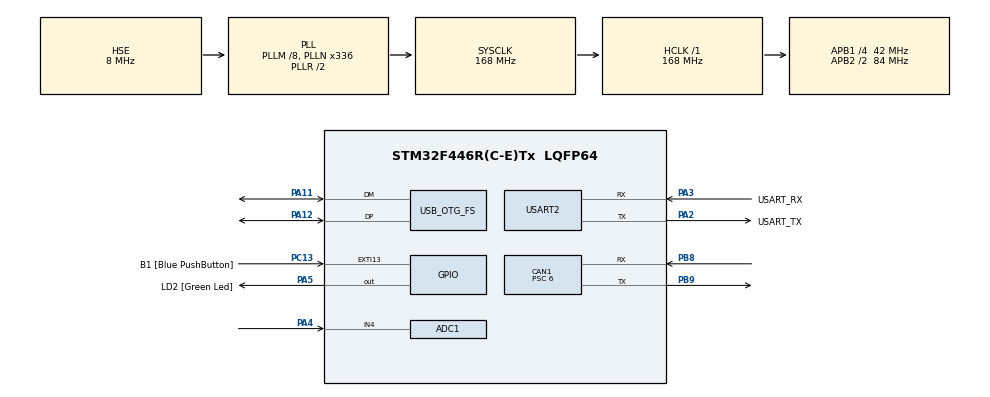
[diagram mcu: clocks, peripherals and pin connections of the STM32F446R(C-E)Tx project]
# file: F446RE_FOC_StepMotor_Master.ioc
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ADC1.Channel-0\#ChannelRegularConversion=ADC_CHANNEL_VREFINT
ADC1.Channel-2\#ChannelRegularConversion=ADC_CHANNEL_TEMPSENSOR
ADC1.Channel-3\#ChannelRegularConversion=ADC_CHANNEL_4
ADC1.ContinuousConvMode=DISABLE
ADC1.DMAContinuousRequests=DISABLE
ADC1.EOCSelection=ADC_EOC_SEQ_CONV
ADC1.NbrOfConversion=3
ADC1.NbrOfConversionFlag=1
ADC1.Rank-0\#ChannelRegularConversion=1
ADC1.Rank-2\#ChannelRegularConversion=2
ADC1.Rank-3\#ChannelRegularConversion=3
ADC1.SamplingTime-0\#ChannelRegularConversion=ADC_SAMPLETIME_480CYCLES
ADC1.SamplingTime-2\#ChannelRegularConversion=ADC_SAMPLETIME_480CYCLES
ADC1.SamplingTime-3\#ChannelRegularConversion=ADC_SAMPLETIME_480CYCLES
ADC1.ScanConvMode=ENABLE
ADC1.master=1
CAN1.AWUM=ENABLE
CAN1.BS1=CAN_BS1_8TQ
CAN1.BS2=CAN_BS2_5TQ
CAN1.CalculateBaudRate=500000
CAN1.CalculateTimeBit=2000
CAN1.CalculateTimeQuantum=142.85714285714286
CAN1.Prescaler=6
Dma.ADC1.2.Direction=DMA_PERIPH_TO_MEMORY
Dma.ADC1.2.FIFOMode=DMA_FIFOMODE_DISABLE
Dma.ADC1.2.Instance=DMA2_Stream0
Dma.ADC1.2.MemDataAlignment=DMA_MDATAALIGN_HALFWORD
Dma.ADC1.2.MemInc=DMA_MINC_ENABLE
Dma.ADC1.2.Mode=DMA_NORMAL
Dma.ADC1.2.PeriphDataAlignment=DMA_PDATAALIGN_HALFWORD
Dma.ADC1.2.PeriphInc=DMA_PINC_DISABLE
Dma.ADC1.2.Priority=DMA_PRIORITY_LOW
Dma.Request0=USART2_TX
Dma.Request1=USART2_RX
Dma.Request2=ADC1
Dma.USART2_RX.1.Direction=DMA_PERIPH_TO_MEMORY
Dma.USART2_RX.1.FIFOMode=DMA_FIFOMODE_DISABLE
Dma.USART2_RX.1.Instance=DMA1_Stream5
Dma.USART2_RX.1.MemDataAlignment=DMA_MDATAALIGN_BYTE
Dma.USART2_RX.1.MemInc=DMA_MINC_ENABLE
Dma.USART2_RX.1.Mode=DMA_NORMAL
Dma.USART2_RX.1.PeriphDataAlignment=DMA_PDATAALIGN_BYTE
Dma.USART2_RX.1.PeriphInc=DMA_PINC_DISABLE
Dma.USART2_RX.1.Priority=DMA_PRIORITY_LOW
Dma.USART2_TX.0.Direction=DMA_MEMORY_TO_PERIPH
Dma.USART2_TX.0.FIFOMode=DMA_FIFOMODE_DISABLE
Dma.USART2_TX.0.Instance=DMA1_Stream6
Dma.USART2_TX.0.MemDataAlignment=DMA_MDATAALIGN_BYTE
Dma.USART2_TX.0.MemInc=DMA_MINC_ENABLE
Dma.USART2_TX.0.Mode=DMA_NORMAL
Dma.USART2_TX.0.PeriphDataAlignment=DMA_PDATAALIGN_BYTE
Dma.USART2_TX.0.PeriphInc=DMA_PINC_DISABLE
Dma.USART2_TX.0.Priority=DMA_PRIORITY_LOW
Mcu.Family=STM32F4
Mcu.Name=STM32F446R(C-E)Tx
Mcu.Package=LQFP64
NVIC.ADC_IRQn=true\:0\:0\:false\:false\:true\:true\:true\:true
NVIC.CAN1_RX0_IRQn=true\:0\:0\:false\:false\:true\:true\:true\:true
NVIC.CAN1_SCE_IRQn=true\:0\:0\:false\:false\:true\:true\:true\:true
NVIC.DMA1_Stream5_IRQn=true\:0\:0\:false\:false\:true\:false\:true\:true
NVIC.DMA1_Stream6_IRQn=true\:0\:0\:false\:false\:true\:false\:true\:true
NVIC.DMA2_Stream0_IRQn=true\:0\:0\:false\:false\:true\:false\:true\:true
NVIC.EXTI15_10_IRQn=true\:0\:0\:false\:false\:true\:true\:true\:true
NVIC.OTG_FS_IRQn=true\:0\:0\:false\:false\:true\:true\:true\:true
NVIC.PriorityGroup=NVIC_PRIORITYGROUP_0
NVIC.USART2_IRQn=true\:0\:0\:false\:false\:true\:true\:true\:true
PA11.Mode=Device_Only
PA11.Signal=USB_OTG_FS_DM
PA12.Mode=Device_Only
PA12.Signal=USB_OTG_FS_DP
PA13.GPIO_Label=TMS
PA13.Mode=Serial_Wire
PA13.Signal=SYS_JTMS-SWDIO
PA14.GPIO_Label=TCK
PA14.Mode=Serial_Wire
PA14.Signal=SYS_JTCK-SWCLK
PA2.GPIO_Label=USART_TX
PA2.Mode=Asynchronous
PA2.Signal=USART2_TX
PA3.GPIO_Label=USART_RX
PA3.Mode=Asynchronous
PA3.Signal=USART2_RX
PA4.Signal=ADCx_IN4
PA5.GPIO_Label=LD2 [Green Led]
PA5.Signal=GPIO_Output
PB3.GPIO_Label=SWO
PB3.Signal=SYS_JTDO-SWO
PB8.Mode=CAN_Activate
PB8.Signal=CAN1_RX
PB9.Mode=CAN_Activate
PB9.Signal=CAN1_TX
PC13.GPIO_Label=B1 [Blue PushButton]
PC13.GPIO_ModeDefaultEXTI=GPIO_MODE_IT_FALLING
PC13.Signal=GPXTI13
PC14-OSC32_IN.Mode=LSE-External-Oscillator
PC14-OSC32_IN.Signal=RCC_OSC32_IN
PC15-OSC32_OUT.Mode=LSE-External-Oscillator
PC15-OSC32_OUT.Signal=RCC_OSC32_OUT
PH0-OSC_IN.Mode=HSE-External-Oscillator
PH0-OSC_IN.Signal=RCC_OSC_IN
PH1-OSC_OUT.Mode=HSE-External-Oscillator
PH1-OSC_OUT.Signal=RCC_OSC_OUT
ProjectManager.HeapSize=0x200
ProjectManager.StackSize=0x400
ProjectManager.TargetToolchain=STM32CubeIDE
RCC.48MHZClocksFreq_Value=84000000
RCC.AHBFreq_Value=168000000
RCC.APB1CLKDivider=RCC_HCLK_DIV4
RCC.APB1Freq_Value=42000000
RCC.APB1TimFreq_Value=84000000
RCC.APB2CLKDivider=RCC_HCLK_DIV2
RCC.APB2Freq_Value=84000000
RCC.APB2TimFreq_Value=168000000
RCC.CortexFreq_Value=168000000
RCC.FLatency-AdvancedSettings=FLASH_LATENCY_5
RCC.HCLKFreq_Value=168000000
RCC.HSE_VALUE=8000000
RCC.HSI_VALUE=16000000
RCC.PLLM=8
RCC.PLLN=336
RCC.PLLQ=7
RCC.SYSCLKFreq_VALUE=168000000
RCC.SYSCLKSource=RCC_SYSCLKSOURCE_PLLRCLK
RCC.USBFreq_Value=48000000
RCC.VCOOutputFreq_Value=336000000
SH.ADCx_IN4.0=ADC1_IN4,IN4
USART2.VirtualMode=VM_ASYNC
USB_DEVICE.CLASS_NAME_FS=CDC
USB_DEVICE.VirtualMode-CDC_FS=Cdc
USB_DEVICE.VirtualModeFS=Cdc_FS
USB_OTG_FS.VirtualMode=Device_Only
VP_ADC1_TempSens_Input.Mode=IN-TempSens
VP_ADC1_Vref_Input.Mode=IN-Vrefint
VP_USB_DEVICE_VS_USB_DEVICE_CDC_FS.Mode=CDC_FS
board=NUCLEO-F446RE

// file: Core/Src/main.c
/* USER CODE BEGIN Header */
/**
  ******************************************************************************
  * @file           : main.c
  * @brief          : Main program body
  ******************************************************************************
  * @attention
  *
  * Copyright (c) 2026 STMicroelectronics.
  * All rights reserved.
  *
  * This software is licensed under terms that can be found in the LICENSE file
  * in the root directory of this software component.
  * If no LICENSE file comes with this software, it is provided AS-IS.
  *
  ******************************************************************************
  */
/* USER CODE END Header */
#include "main.h"
#include "adc.h"
#include "can.h"
#include "dma.h"
#include "usart.h"
#include "usb_device.h"
#include "gpio.h"

/* USER CODE BEGIN Includes */
#include <string.h>
#include <stdio.h>
#include <stdbool.h>
#include <math.h>
#include "usbd_cdc_if.h"
#include "NTC_10K_LUT.h"
#include "frame.h"
/* USER CODE END Includes */

/* USER CODE BEGIN PD */
#define MOTOR_ONE_CIRCLE_SUBDIVIDE_STEPS  51200   /* 100 steps x 256 micro-steps (must match slave) */
#define MAX_BUFFER_SIZE 50
/* USER CODE END PD */

/* USER CODE BEGIN PV */
volatile uint8_t CMDSend = 0;

volatile int32_t g_Velocity = 0, g_Position = 0;
volatile bool g_VelocityState = false, g_PositionState = false;
volatile int32_t g_TempValues = 0;
volatile bool g_TempState = false;
volatile Temperature_t Slave_Temperature;

volatile bool isSent = false;
volatile bool IscmdIncomming = false;
volatile uint16_t Size_Rx = 0;

uint8_t bufferTxUART[MAX_BUFFER_SIZE] = "hello world UART\n";
uint8_t bufferRxUART[MAX_BUFFER_SIZE];
uint8_t bufferRxCmd[MAX_BUFFER_SIZE];
uint8_t bufferTxUSB[30] = "hello world USB\n";

uint16_t ADC_VAL[3];
float voltage = 0.0f,vref = 0.0f, temperature = 0.0f;
float Vdda_mV = 0.0f, MCU_Temperature = 0.0f, NTC_Temperature = 0.0f;
volatile bool ADC_ConvertReady = false;
volatile bool Cmd_Reponse = true;

/* USER CODE END PV */

void SystemClock_Config(void);

/* USER CODE BEGIN 0 */

void HAL_UART_TxCpltCallback(UART_HandleTypeDef *huart)
{
	UNUSED(huart);
	isSent = true;
//	memset(bufferTxUART, 0, sizeof(bufferTxUART));
//	memcpy(bufferTxUART, bufferRxUART, sizeof(bufferRxUART));
}

void HAL_UARTEx_RxEventCallback(UART_HandleTypeDef *huart, uint16_t Size)
{
//  UNUSED(huart);
	if(huart->Instance == USART2)
	{

		if(Size > Size_Rx)
		{
			memcpy(bufferRxCmd, bufferRxUART, Size);
		}
		else
		{
			memcpy(bufferRxCmd, bufferRxUART, Size);
			memset(bufferRxCmd + Size, 0, Size_Rx - Size);
		}
		Size_Rx = Size;
		IscmdIncomming = true;

		HAL_UARTEx_ReceiveToIdle_DMA(&huart2, bufferRxUART, MAX_BUFFER_SIZE);
	}
}

/* ------------------------------------------------------------------ */
/*  CAN command wrappers – one per switch-case in Slave OnCanCmd()    */
/* ------------------------------------------------------------------ */

/* 0x02 – Do Calibration */
void DoCalibration(bool _ack)
{
	TxHeader.StdId = (TargetCAN_NodeId << 7) | 0x02;
	TxData[4] = _ack ? 1u : 0u;
	CAN_Send(&TxHeader, TxData);
}

/* 0x03 – Set Current SetPoint [mA] */
void SetCurrentSetPoint(int32_t _cur)
{
	TxHeader.StdId = (TargetCAN_NodeId << 7) | 0x03;
	memcpy(TxData, &_cur, sizeof(int32_t));
	CAN_Send(&TxHeader, TxData);
}

/* 0x04 – Set Velocity SetPoint [steps/sec] */
void SetVelocitySetPoint(int32_t _vel)
{
	memcpy(TxData, &_vel, sizeof(int32_t));
	TxHeader.StdId = (TargetCAN_NodeId << 7) | 0x04;
	CAN_Send(&TxHeader, TxData);
}

/* 0x05 – Set Position SetPoint */
void SetPositionSetPoint(int32_t _pos, bool _isAck)
{
	TxHeader.StdId = (TargetCAN_NodeId << 7) | 0x05;
/*
================================================================
	uint8_t* ConvertF2u8_CanBuf = (uint8_t*) &_val;
	for (uint8_t i = 0; i < 4; i++)
	{
		TxData[i] = *(ConvertF2u8_CanBuf + i);
	}
	CAN_Send(&TxHeader, TxData);
================================================================
*/
	memcpy(TxData, &_pos, sizeof(int32_t));
	TxData[4] = (uint8_t)_isAck; // Ack
	CAN_Send(&TxHeader, TxData);
}

/* 0x06 – Set Position SetPoint with Time */
void SetPositionSetPointWithTime(int32_t _pos, float _time)
{
	TxHeader.StdId = (TargetCAN_NodeId << 7) | 0x06;
	memcpy(TxData, &_pos, sizeof(int32_t));
	memcpy(TxData + 4, &_time, sizeof(float));
	CAN_Send(&TxHeader, TxData);
}

/* 0x07 – Set Position SetPoint with Velocity Limit */
void SetPositionWithVelocityLimit(int32_t _pos, int32_t _vel)
{
	TxHeader.StdId = (TargetCAN_NodeId << 7) | 0x07;
	memcpy(TxData, &_pos, sizeof(int32_t));
	memcpy(TxData + 4, &_vel, sizeof(int32_t));
	CAN_Send(&TxHeader, TxData);
}

/* 0x11 – Set Node-ID and Store to Flash */
void SetNodeId(uint32_t _nodeId, bool _store)
{
	TxHeader.StdId = (TargetCAN_NodeId << 7) | 0x11;
	memcpy(TxData, &_nodeId, sizeof(uint32_t));
	TxData[4] = _store ? 1u : 0u;
	CAN_Send(&TxHeader, TxData);
}

/* 0x12 – Set Current-Limit and Store to Flash */
void SetCurrentLimit(int32_t _limit, bool _store)
{
	TxHeader.StdId = (TargetCAN_NodeId << 7) | 0x12;
	memcpy(TxData, &_limit, sizeof(int32_t));
	TxData[4] = _store ? 1u : 0u;
	CAN_Send(&TxHeader, TxData);
}

/* 0x13 – Set Velocity-Limit and Store to Flash */
void SetVelocityLimit(int32_t _limit, bool _store)
{
	TxHeader.StdId = (TargetCAN_NodeId << 7) | 0x13;
	memcpy(TxData, &_limit, sizeof(int32_t));
	TxData[4] = _store ? 1u : 0u;
	CAN_Send(&TxHeader, TxData);
}

/* 0x14 – Set Acceleration and Store to Flash */
void SetAcceleration(int32_t _acc, bool _store)
{
	TxHeader.StdId = (TargetCAN_NodeId << 7) | 0x14;
	memcpy(TxData, &_acc, sizeof(int32_t));
	TxData[4] = _store ? 1u : 0u;
	CAN_Send(&TxHeader, TxData);
}

/* 0x15 – Apply Home-Position and Store to Flash */
void SetHomePosition(int32_t _offset, bool _store)
{
	TxHeader.StdId = (TargetCAN_NodeId << 7) | 0x15;
	memcpy(TxData, &_offset, sizeof(int32_t));
	TxData[4] = _store ? 1u : 0u;
	CAN_Send(&TxHeader, TxData);
}

/* 0x17 – Set DCE Kp and Store to Flash */
void SetDceKp(int32_t _kp, bool _store)
{
	TxHeader.StdId = (TargetCAN_NodeId << 7) | 0x17;
	memcpy(TxData, &_kp, sizeof(int32_t));
	TxData[4] = _store ? 1u : 0u;
	CAN_Send(&TxHeader, TxData);
}

/* 0x18 – Set DCE Kv and Store to Flash */
void SetDceKv(int32_t _kv, bool _store)
{
	TxHeader.StdId = (TargetCAN_NodeId << 7) | 0x18;
	memcpy(TxData, &_kv, sizeof(int32_t));
	TxData[4] = _store ? 1u : 0u;
	CAN_Send(&TxHeader, TxData);
}

/* 0x19 – Set DCE Ki and Store to Flash */
void SetDceKi(int32_t _ki, bool _store)
{
	TxHeader.StdId = (TargetCAN_NodeId << 7) | 0x19;
	memcpy(TxData, &_ki, sizeof(int32_t));
	TxData[4] = _store ? 1u : 0u;
	CAN_Send(&TxHeader, TxData);
}

/* 0x1A – Set DCE Kd and Store to Flash */
void SetDceKd(int32_t _kd, bool _store)
{
	TxHeader.StdId = (TargetCAN_NodeId << 7) | 0x1A;
	memcpy(TxData, &_kd, sizeof(int32_t));
	TxData[4] = _store ? 1u : 0u;
	CAN_Send(&TxHeader, TxData);
}

/* 0x1C – Set PID gains (kp, ki, kd) and Store to Flash */
void SetPidGains(int16_t _kp, int16_t _ki, int16_t _kd, bool _store)
{
	TxHeader.StdId = (TargetCAN_NodeId << 7) | 0x1C;
	memcpy(TxData,     &_kp, sizeof(int16_t));
	memcpy(TxData + 2, &_ki, sizeof(int16_t));
	memcpy(TxData + 4, &_kd, sizeof(int16_t));
	TxData[6] = _store ? 1u : 0u;
	CAN_Send(&TxHeader, TxData);
}

/* 0x21 – Get Current (slave responds with current + state) */
void GetCurrent()
{
	TxHeader.StdId = (TargetCAN_NodeId << 7) | 0x21;
	CAN_Send(&TxHeader, TxData);
}

/* 0x22 – Get Velocity (slave responds with velocity + state) */
void GetVelocity()
{
	TxHeader.StdId = (TargetCAN_NodeId << 7) | 0x22;
	CAN_Send(&TxHeader, TxData);
}

/* 0x23 – Get Angle (slave responds with angle + state) */
void UpdateAngle()
{
	TxHeader.StdId = (TargetCAN_NodeId << 7) | 0x23;
	CAN_Send(&TxHeader, TxData);
}

/* 0x24 – Get Offset (slave responds with encoderHomeOffset) */
void GetOffset()
{
	TxHeader.StdId = (TargetCAN_NodeId << 7) | 0x24;
	CAN_Send(&TxHeader, TxData);
}

/* 0x25 – Get Current-Limit of slave */
void GetCurrentLimit()
{
	TxHeader.StdId = (TargetCAN_NodeId << 7) | 0x25;
	CAN_Send(&TxHeader, TxData);
}

/* 0x26 – Get MCU & NTC temperature of slave */
void GetTemperature()
{
	TxHeader.StdId = (TargetCAN_NodeId << 7) | 0x26;
	CAN_Send(&TxHeader, TxData);
}

/* 0x7D – Undo Configs (restore to current in-flash config & reboot) */
void UndoConfigs()
{
	TxHeader.StdId = (TargetCAN_NodeId << 7) | 0x7D;
	CAN_Send(&TxHeader, TxData);
}

/* 0x7E – Default Configs (back to default config & reboot) */
void DefaultConfigs()
{
	TxHeader.StdId = (TargetCAN_NodeId << 7) | 0x7E;
	CAN_Send(&TxHeader, TxData);
}

/* 0x7F – Reboot slave */
void RebootSlave()
{
	TxHeader.StdId = (TargetCAN_NodeId << 7) | 0x7F;
	CAN_Send(&TxHeader, TxData);
}

void HAL_GPIO_EXTI_Callback(uint16_t GPIO_Pin)
{
	if (GPIO_Pin == B1_Pin)
	{
		CMDSend = CMDSend + 1;

		if(CMDSend == 2)
		{
//			HAL_GPIO_WritePin(LD2_GPIO_Port, LD2_Pin, GPIO_PIN_SET);
			TxHeader.StdId = (TargetCAN_NodeId << 7) | 0x01;
			CAN_Send(&TxHeader, TxData);
		}
		else if(CMDSend == 3)
		{
//			HAL_GPIO_WritePin(LD2_GPIO_Port, LD2_Pin, GPIO_PIN_RESET);
			SetVelocitySetPoint(5 * MOTOR_ONE_CIRCLE_SUBDIVIDE_STEPS);
		}
		else if(CMDSend == 4)
		{
			SetVelocitySetPoint(5 * MOTOR_ONE_CIRCLE_SUBDIVIDE_STEPS);
		}
		else if(CMDSend == 5)
		{
			SetPositionSetPoint(-10 * MOTOR_ONE_CIRCLE_SUBDIVIDE_STEPS, 0); // no ack
		}
		else if(CMDSend == 6)
		{
			SetPositionSetPoint(0 * MOTOR_ONE_CIRCLE_SUBDIVIDE_STEPS, 1); // ack
		}
		else if(CMDSend == 7)
		{
			SetPositionWithVelocityLimit(20 * MOTOR_ONE_CIRCLE_SUBDIVIDE_STEPS, 1 * MOTOR_ONE_CIRCLE_SUBDIVIDE_STEPS);
		}
		else if(CMDSend == 8)
		{
			DoCalibration(0);
		}
	}
}

float NTC_GetTemperature(uint16_t adc_raw)
{
    if (adc_raw == 0) adc_raw = 1;

    // B1: Tính R_NTC từ ADC (NTC phía trên, R_fixed phía dưới)
    float r_ntc = R_FIXED * (ADC_MAX / (float)adc_raw - 1.0f);

    // B2: Giới hạn trong dải bảng
    if (r_ntc >= ntc_tem_res_table[0].NTC_Resistor) return ntc_tem_res_table[0].temperature;
    if (r_ntc <= ntc_tem_res_table[NTC_TABLE_SIZE-1].NTC_Resistor) return ntc_tem_res_table[NTC_TABLE_SIZE-1].temperature;

    // B3: Tìm khoảng chứa r_ntc (bảng R giảm dần theo T tăng)
    for (uint8_t i = 0; i < NTC_TABLE_SIZE - 1; i++)
    {
        if (r_ntc <= ntc_tem_res_table[i].NTC_Resistor && r_ntc >= ntc_tem_res_table[i+1].NTC_Resistor)
        {
            // B4: Nội suy tuyến tính giữa 2 điểm gần nhất
            float r1 = ntc_tem_res_table[i].NTC_Resistor,   t1 = ntc_tem_res_table[i].temperature;
            float r2 = ntc_tem_res_table[i+1].NTC_Resistor, t2 = ntc_tem_res_table[i+1].temperature;

            return t1 + (r_ntc - r1) * (t2 - t1) / (r2 - r1);
        }
    }
    return -999.0f;
}

bool ParseCommand(char *cmd, char **_currentAction, char **_currentParam)
{
	char *saveptr = NULL;
	char *action = strtok_r(cmd,  " \r\n", &saveptr); // set
//	char *group  = strtok_r(NULL, " \r\n", &saveptr); // position
	char *param  = strtok_r(NULL, " \r\n", &saveptr); // pos
	char *value  = strtok_r(NULL, " \r\n", &saveptr); // 10
	char *extra  = strtok_r(NULL, " \r\n", &saveptr); // junk

	// 4 important token
	if(!action /*||!group*/ ||!param /*||!value*/ ||extra)
	{
		return false;
	}

	*_currentAction = action;
	*_currentParam = param;

	if((strcmp(action, "set") == 0) && (*value != 0))
	{
		// convert string to numeric values
		char *endptr = NULL;
		long val = strtol(value, &endptr, 10);

		// ignoring non numeric or redundant character
		if(endptr == value || *endptr != '\0' /*|| !isfinite(val)*/)
		{
			return false;
		}

		if(strcmp(param, "pos") == 0) // 0x05 – Set Position SetPoint
		{
			SetPositionSetPoint((int32_t)val, 0);
		}
		else if(strcmp(param, "vel") == 0)
		{
			SetVelocitySetPoint((int32_t)val);
		}
		else if(strcmp(param, "curlim") == 0)
		{
			SetCurrentLimit((int32_t)val,0);
		}
		else
		{
			return false;
		}
	}
	else if(strcmp(action, "get") == 0)
	{
		if(strcmp(param, "vel") == 0) // 0x22 – Get Velocity
		{
			GetVelocity();
		}
		else if(strcmp(param, "pos") == 0) // 0x23 – Get Angle
		{
			UpdateAngle();
		}
		else if(strcmp(param, "curlim") == 0) // 0x25 – Get Current-Limit
		{
			GetCurrentLimit();
		}
		else if(strcmp(param, "temp") == 0) // 0x25 – Get Current-Limit
		{
			GetTemperature();
		}
		else
		{
			return false;
		}
	}
	else
	{
		return false;
	}

	return true;
}

void HAL_ADC_ConvCpltCallback(ADC_HandleTypeDef *hadc)
{
	if(hadc->Instance == ADC1)
	{
		ADC_ConvertReady = true;
	}
}

void TestingFunc()
{
//	/* USB CDC */
//	if(recvDone == 1)
//	{
//	  if(strncmp((char*)UserRxBufferFS, "cmdUSB", recvLen) == 0)
//	  {
//		  static int len = 0;
//		  if(isTxBusy == false)
//		  {
//			  isTxBusy = true;
//			  len = snprintf((char*)UserTxBufferFS, sizeof(UserTxBufferFS),"ADC:%u\n",ADC_VAL[2]);
//		  }
//		  if(CDC_Transmit_FS(UserTxBufferFS, len) == USBD_OK)
//		  {
//			 recvDone = 0;
//		  }
//	  }
//	}

//	  /* Repeatly UART */
//	  if ((isSent == true) && (Size_Rx != 0))
//	  {
//		  HAL_UART_Transmit_DMA(&huart2, bufferRxUART, Size_Rx);
//		  isSent = false;
//	  }

//	/* Convert ADC and calc temperature */
//	  if(ADC_ConvertReady == true)
//	  {
//		  ADC_ConvertReady = false;
//
//			vref = 3300.0f * (float)*VREFINT_CAL_ADDR / (float)ADC_VAL[0]; 	// read vrefint
//			voltage = (float)ADC_VAL[1] * vref / 4095.0f; 			// read ADC at temp sensor - Vsense
//
//			// Hai điểm hiệu chuẩn, đơn vị mV
//			float V30  = (float)*TEMPSENSOR_CAL1_ADDR * 3300.0f / 4095.0f;
//			float V110 = (float)*TEMPSENSOR_CAL2_ADDR * 3300.0f / 4095.0f;
//
//			MCU_Temperature = 30.0f + (voltage - V30) * 80.0f / (V110 - V30);
//			NTC_Temperature = NTC_GetTemperature(ADC_VAL[2]);!
//
//			HAL_ADC_Start_DMA(&hadc1, (uint32_t*)ADC_VAL, 3);
//	  }

//	/* Debug ADC values to serial */
//	  memset(bufferADC_UART, 0, sizeof(bufferADC_UART));
//	  snprintf((char*)bufferADC_UART, sizeof(bufferADC_UART),"Vref: %.3f MCU: %.3f NTC: %.3f ,ADC[0]:%u, ADC[1]:%u, ADC[2]:%u \n", vref, MCU_Temperature, NTC_Temperature, ADC_VAL[0], ADC_VAL[1], ADC_VAL[2]);
//	  HAL_UART_Transmit_DMA(&huart2, bufferADC_UART, strlen((char*)bufferADC_UART));

//	  /* Polling ADC from slave */
//	  if(Cmd_Reponse == true)
//	  {
//		  Cmd_Reponse = false;
//		  GetTemperature();
//		  snprintf((char*)bufferTxUART, sizeof(bufferTxUART),"Polling OK MCU:%.3f NTC:%.3f\n", Slave_Temperature.MCU_Temperature, Slave_Temperature.NTC_Temperature);
//		  HAL_UART_Transmit_DMA(&huart2, bufferTxUART, strlen((char*)bufferTxUART));
//	  }
}
/* USER CODE END 0 */

int main(void)
{

  /* MCU Configuration--------------------------------------------------------*/

  /* Reset of all peripherals, Initializes the Flash interface and the Systick. */
  HAL_Init();

  /* Configure the system clock */
  SystemClock_Config();

  /* Initialize all configured peripherals */
  MX_GPIO_Init();
  MX_DMA_Init();
  MX_CAN1_Init();
  MX_USART2_UART_Init();
  MX_USB_DEVICE_Init();
  MX_ADC1_Init();
  /* USER CODE BEGIN 2 */
  HAL_UART_Transmit_DMA(&huart2, bufferTxUART, sizeof(bufferTxUART)-1);
  HAL_UARTEx_ReceiveToIdle_DMA(&huart2, bufferRxUART, MAX_BUFFER_SIZE);
  HAL_ADC_Start_DMA(&hadc1, (uint32_t*)ADC_VAL, 3);
  uint8_t bufferADC_UART[100];
  /* USER CODE END 2 */

  /* Infinite loop */
  /* USER CODE BEGIN WHILE */
  while (1)
  {
	  TestingFunc();

	  Frame_UsbRxParseCmd();
	  Frame_Task();

	  if(IscmdIncomming == true)
	  {
		  IscmdIncomming = false;
		  char *currentAction = NULL, *currentParam = NULL;

		  if(ParseCommand((char*)bufferRxCmd, &currentAction, &currentParam) == true)
		  {
			  if(strcmp(currentAction,"get") == 0)
			  {
				  if(strcmp(currentParam,"temp") == 0)
				  {
					  snprintf((char*)bufferTxUART, sizeof(bufferTxUART),"%s %s Cmd OK MCU:%.3f NTC:%.3f\n", currentAction, currentParam, Slave_Temperature.MCU_Temperature, Slave_Temperature.NTC_Temperature);
				  }
				  else
				  {
					  snprintf((char*)bufferTxUART, sizeof(bufferTxUART),"%s %s %ld Cmd OK\n", currentAction, currentParam, g_TempValues);
				  }
			  }
			  else
			  {
				  snprintf((char*)bufferTxUART, sizeof(bufferTxUART),"%s %s Cmd OK\n", currentAction, currentParam);
			  }

			  HAL_UART_Transmit_DMA(&huart2, bufferTxUART, strlen((char*)bufferTxUART));
		  }
		  else
		  {
			  snprintf((char*)bufferTxUART, sizeof(bufferTxUART),"Cmd NOK\n");
			  HAL_UART_Transmit_DMA(&huart2, bufferTxUART, strlen((char*)bufferTxUART));
		  }
	  }

    /* USER CODE END WHILE */

  }
}

void SystemClock_Config(void)
{
  RCC_OscInitTypeDef RCC_OscInitStruct = {0};
  RCC_ClkInitTypeDef RCC_ClkInitStruct = {0};

  /** Configure the main internal regulator output voltage
  */
  __HAL_RCC_PWR_CLK_ENABLE();
  __HAL_PWR_VOLTAGESCALING_CONFIG(PWR_REGULATOR_VOLTAGE_SCALE1);

  /** Initializes the RCC Oscillators according to the specified parameters
  * in the RCC_OscInitTypeDef structure.
  */
  RCC_OscInitStruct.OscillatorType = RCC_OSCILLATORTYPE_HSE;
  RCC_OscInitStruct.HSEState = RCC_HSE_ON;
  RCC_OscInitStruct.PLL.PLLState = RCC_PLL_ON;
  RCC_OscInitStruct.PLL.PLLSource = RCC_PLLSOURCE_HSE;
  RCC_OscInitStruct.PLL.PLLM = 8;
  RCC_OscInitStruct.PLL.PLLN = 336;
  RCC_OscInitStruct.PLL.PLLP = RCC_PLLP_DIV2;
  RCC_OscInitStruct.PLL.PLLQ = 7;
  RCC_OscInitStruct.PLL.PLLR = 2;
  if (HAL_RCC_OscConfig(&RCC_OscInitStruct) != HAL_OK)
  {
    Error_Handler();
  }

  /** Initializes the CPU, AHB and APB buses clocks
  */
  RCC_ClkInitStruct.ClockType = RCC_CLOCKTYPE_HCLK|RCC_CLOCKTYPE_SYSCLK
                              |RCC_CLOCKTYPE_PCLK1|RCC_CLOCKTYPE_PCLK2;
  RCC_ClkInitStruct.SYSCLKSource = RCC_SYSCLKSOURCE_PLLRCLK;
  RCC_ClkInitStruct.AHBCLKDivider = RCC_SYSCLK_DIV1;
  RCC_ClkInitStruct.APB1CLKDivider = RCC_HCLK_DIV4;
  RCC_ClkInitStruct.APB2CLKDivider = RCC_HCLK_DIV2;

  if (HAL_RCC_ClockConfig(&RCC_ClkInitStruct, FLASH_LATENCY_5) != HAL_OK)
  {
    Error_Handler();
  }
}

void Error_Handler(void)
{
  __disable_irq();
  while (1)
  {
  }
}
